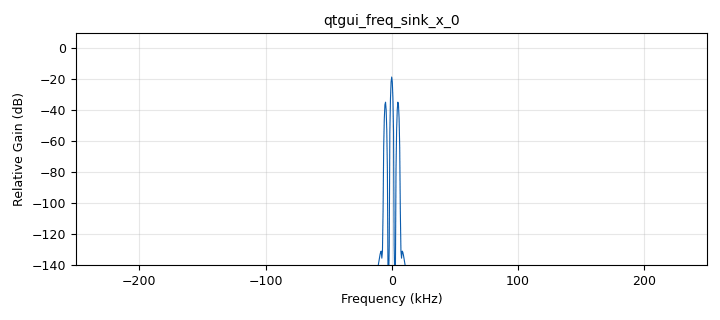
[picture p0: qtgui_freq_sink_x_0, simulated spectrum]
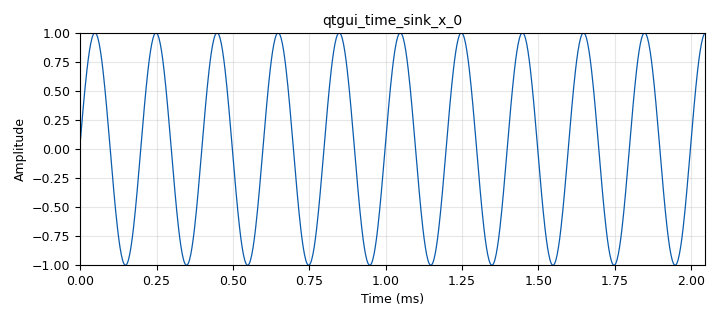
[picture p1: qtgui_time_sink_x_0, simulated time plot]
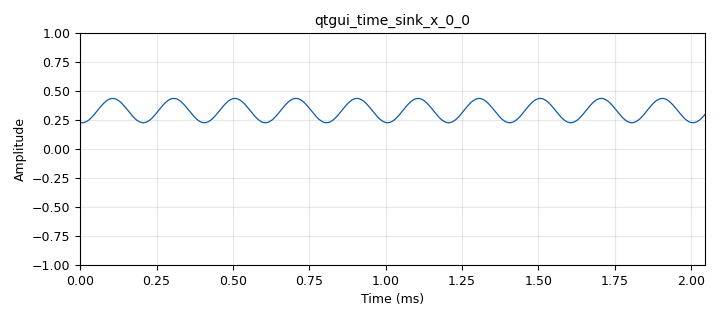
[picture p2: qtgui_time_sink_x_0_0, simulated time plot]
options:
  parameters:
    generate_options: qt_gui
    id: fm_mod
    output_language: python
    title: Not titled yet
  states: {}

blocks:
- name: beta
  id: variable_qtgui_range
  parameters:
    start: '-2'
    step: '1'
    stop: '4'
    value: '4'
  states: {}
- name: fc
  id: variable_qtgui_range
  parameters:
    start: '1000'
    step: '100'
    stop: '25000'
    value: '25000'
  states: {}
- name: fm
  id: variable_qtgui_range
  parameters:
    start: '0'
    step: '100'
    stop: '5000'
    value: '5000'
  states: {}
- name: samp_rate
  id: variable
  parameters:
    value: '500000'
  states: {}
- name: analog_fm_demod_cf_0
  id: analog_fm_demod_cf
  parameters:
    audio_decim: '1'
    audio_pass: '10000'
    audio_stop: '30000'
    chan_rate: '500000'
    deviation: '75000'
    gain: '1.0'
    tau: '75e-6'
  states: {}
- name: analog_phase_modulator_fc_0
  id: analog_phase_modulator_fc
  parameters:
    sensitivity: '1'
  states: {}
- name: analog_sig_source_x_0
  id: analog_sig_source_x
  parameters:
    amp: '1'
    freq: fm
    offset: '0'
    phase: '0'
    samp_rate: samp_rate
    type: float
    waveform: analog.GR_COS_WAVE
  states: {}
- name: analog_sig_source_x_1
  id: analog_sig_source_x
  parameters:
    amp: '1'
    freq: fc
    offset: '0'
    phase: '0'
    samp_rate: samp_rate
    type: complex
    waveform: analog.GR_COS_WAVE
  states: {}
- name: blocks_multiply_const_vxx_0
  id: blocks_multiply_const_vxx
  parameters:
    const: '4'
    type: float
  states: {}
- name: blocks_multiply_xx_0
  id: blocks_multiply_xx
  parameters:
    type: complex
  states: {}
- name: blocks_throttle2_0_0
  id: blocks_throttle2
  parameters:
    samples_per_second: samp_rate
    type: float
  states: {}
- name: note_0
  id: note
  parameters:
    note: beta>1 = WBFM
  states: {}
- name: note_0_0
  id: note
  parameters:
    note: beta<1 = NBFM
  states: {}
- name: qtgui_freq_sink_x_0
  id: qtgui_freq_sink_x
  parameters:
    bw: samp_rate
    fc: '0'
    fftsize: '1024'
    type: float
  states: {}
- name: qtgui_time_sink_x_0
  id: qtgui_time_sink_x
  parameters:
    size: '1024'
    srate: samp_rate
    type: float
  states: {}
- name: qtgui_time_sink_x_0_0
  id: qtgui_time_sink_x
  parameters:
    size: '1024'
    srate: samp_rate
    type: float
  states: {}

connections:
- [analog_fm_demod_cf_0, '0', qtgui_freq_sink_x_0, '0']
- [analog_fm_demod_cf_0, '0', qtgui_time_sink_x_0_0, '0']
- [analog_phase_modulator_fc_0, '0', blocks_multiply_xx_0, '0']
- [analog_sig_source_x_0, '0', blocks_multiply_const_vxx_0, '0']
- [analog_sig_source_x_0, '0', qtgui_time_sink_x_0, '0']
- [analog_sig_source_x_1, '0', blocks_multiply_xx_0, '1']
- [blocks_multiply_const_vxx_0, '0', blocks_throttle2_0_0, '0']
- [blocks_multiply_xx_0, '0', analog_fm_demod_cf_0, '0']
- [blocks_throttle2_0_0, '0', analog_phase_modulator_fc_0, '0']

metadata:
  file_format: 1
  grc_version: 3.10.9.2
